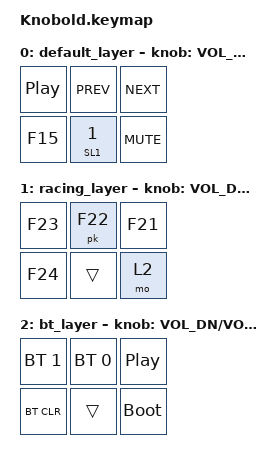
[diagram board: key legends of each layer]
#include <behaviors.dtsi>
#include <dt-bindings/zmk/keys.h>
#include <dt-bindings/zmk/bt.h>

&left_encoder { status = "okay"; };
&right_encoder { status = "okay"; };

/ {
    keymap {
        compatible = "zmk,keymap";

        default_layer {
            bindings = <
                &kp C_PP &kp C_PREV &kp C_NEXT
                &kp F15 &SL1 1 &kp C_MUTE
                
                >;

            sensor-bindings = <&inc_dec_kp C_VOL_DN C_VOL_UP &inc_dec_kp PG_DN PG_UP>;
        };
        racing_layer {
            bindings = <
                &kp F23 &pk F22 &kp F21
                &kp F24 &trans &mo 2
                
                >;

            sensor-bindings = <&inc_dec_kp C_VOL_DN C_VOL_UP &inc_dec_kp PG_DN PG_UP>;
        };
        bt_layer {
            bindings = <
                &bt BT_SEL 1 &bt BT_SEL 0 &kp C_PP
                &bt BT_CLR &trans &bootloader
                
                >;

            sensor-bindings = <&inc_dec_kp C_VOL_DN C_VOL_UP &inc_dec_kp PG_DN PG_UP>;
        };
    };
};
